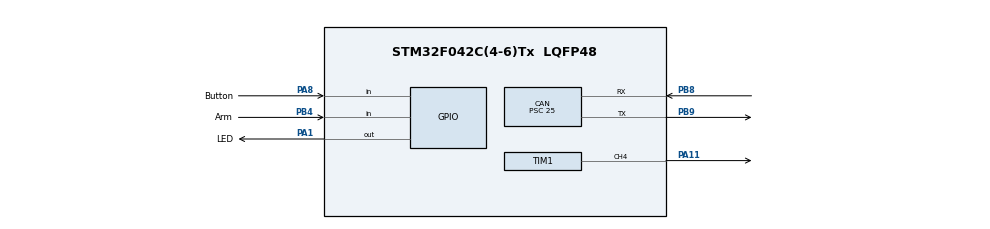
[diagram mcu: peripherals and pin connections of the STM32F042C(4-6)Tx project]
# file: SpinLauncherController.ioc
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Mcu.Family=STM32F0
SH.S_TIM1_CH4.0=TIM1_CH4,PWM Generation4 CH4
CAN.CalculateBaudRate=20000
PB8.GPIO_PuPd=GPIO_PULLUP
CAN.CalculateTimeBit=50000.00
ProjectManager.StackSize=0x400
CAN.BS2=CAN_BS2_2TQ
CAN.BS1=CAN_BS1_13TQ
CAN.Prescaler=25
PA8.GPIO_Label=Button
TIM1.Prescaler=7
ProjectManager.TargetToolchain=STM32CubeIDE
TIM1.Channel-PWM\ Generation4\ CH4=TIM_CHANNEL_4
PB9.Mode=CAN_Activate
PA1.Signal=GPIO_Output
board=custom
PB4.GPIO_Label=Arm
PA1.GPIO_Label=LED
PA8.Signal=GPIO_Input
Mcu.Name=STM32F042C(4-6)Tx
CAN.CalculateTimeQuantum=3125.0
NVIC.CEC_CAN_IRQn=true\:1\:0\:true\:false\:true\:true\:true
Mcu.Package=LQFP48
PB9.Signal=CAN_TX
PA11.Signal=S_TIM1_CH4
ProjectManager.HeapSize=0x200
PB8.Mode=CAN_Activate
PB8.Signal=CAN_RX
TIM1.Period=999
PB4.Signal=GPIO_Input

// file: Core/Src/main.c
/* USER CODE BEGIN Header */
/**
  ******************************************************************************
  * @file           : main.c
  * @brief          : Main program body
  ******************************************************************************
  * @attention
  *
  * <h2><center>&copy; Copyright (c) 2020 STMicroelectronics.
  * All rights reserved.</center></h2>
  *
  * This software component is licensed by ST under BSD 3-Clause license,
  * the "License"; You may not use this file except in compliance with the
  * License. You may obtain a copy of the License at:
  *                        opensource.org/licenses/BSD-3-Clause
  *
  ******************************************************************************
  */
/* USER CODE END Header */
#include "main.h"

/* USER CODE BEGIN Includes */
#include "stdbool.h"
/* USER CODE END Includes */

CAN_HandleTypeDef hcan;

TIM_HandleTypeDef htim1;

void SystemClock_Config(void);
static void MX_GPIO_Init(void);
static void MX_CAN_Init(void);
static void MX_TIM1_Init(void);
/* USER CODE BEGIN PFP */
void CAN_Send(uint8_t *data, int length);
/* USER CODE END PFP */

/* USER CODE BEGIN 0 */

CAN_TxHeaderTypeDef   CanTxHeader;
CAN_RxHeaderTypeDef   CanRxHeader;
uint8_t               CanRxData[8];
uint32_t              CanTxMailbox;

#define ARM_PERIOD          10000
#define SEND_STATE_INTERVAL 500
#define ALIVE_INTERVAL      2000
#define FIRE_DURATION       5000

#define LOOP_PERIOD         50

typedef enum {
	DISARMED,
	ARMED,
	FIRE,
} State;

State state     = DISARMED;
State pre_state = DISARMED;

int send_state_timer = 0;
int fire_timer       = 0;
int alive_timer      = 0;

void send_state(void) {
	switch (state) {
	case DISARMED:
		CAN_Send((uint8_t *)"DISARM", 6);
		break;
	case ARMED:
		CAN_Send((uint8_t *)"ARM", 3);
		break;
	case FIRE:
		CAN_Send((uint8_t *)"FIRE", 4);
		break;
	default:
		break;
	}
	send_state_timer = 0;
}

/* USER CODE END 0 */

int main(void)
{

  /* MCU Configuration--------------------------------------------------------*/

  /* Reset of all peripherals, Initializes the Flash interface and the Systick. */
  HAL_Init();

  /* Configure the system clock */
  SystemClock_Config();

  /* Initialize all configured peripherals */
  MX_GPIO_Init();
  MX_CAN_Init();
  MX_TIM1_Init();
  /* USER CODE BEGIN 2 */

//  HAL_GPIO_WritePin(Ignite_GPIO_Port, Ignite_Pin, GPIO_PIN_RESET);
  HAL_GPIO_WritePin(LED_GPIO_Port, LED_Pin, GPIO_PIN_RESET);

  HAL_TIM_PWM_Start(&htim1, TIM_CHANNEL_4);

  __HAL_TIM_SET_COMPARE(&htim1, TIM_CHANNEL_4, 0);

  /* USER CODE END 2 */

  /* Infinite loop */
  while (1)
  {

    /* USER CODE BEGIN 3 */
	  // Open fire
	 	  if (state == FIRE && pre_state != FIRE) {
	 		  fire_timer = 0;
	 		  __HAL_TIM_SET_COMPARE(&htim1, TIM_CHANNEL_4, 750);
//	 		  HAL_GPIO_WritePin(Ignite_GPIO_Port, Ignite_Pin, GPIO_PIN_SET);
	 	  }
	 	  // Stop firing
	 	  if (state == FIRE && fire_timer > FIRE_DURATION / LOOP_PERIOD) {
	 		  state = DISARMED;
	 	  }

	 	  if (state != FIRE) {
	 		 __HAL_TIM_SET_COMPARE(&htim1, TIM_CHANNEL_4, 250);
//	 		  HAL_GPIO_WritePin(Ignite_GPIO_Port, Ignite_Pin, GPIO_PIN_RESET);
	 	  }

	 	  // Check heart beat
	 	  if (alive_timer > ALIVE_INTERVAL / LOOP_PERIOD) {
	 	 	  state = DISARMED;
	 	  }
	   	  // Send state
	 	  if (state != pre_state ||
	 	  	 send_state_timer > SEND_STATE_INTERVAL / LOOP_PERIOD) {
	 	  	 send_state();
	 	  }

	 	  pre_state = state;
	 	  send_state_timer++;
	 	  alive_timer++;
	 	  fire_timer++;

	 	  HAL_GPIO_TogglePin(LED_GPIO_Port, LED_Pin);

	 	  HAL_Delay(LOOP_PERIOD);

  }
  /* USER CODE END 3 */
}

void SystemClock_Config(void)
{
  RCC_OscInitTypeDef RCC_OscInitStruct = {0};
  RCC_ClkInitTypeDef RCC_ClkInitStruct = {0};

  /** Initializes the RCC Oscillators according to the specified parameters
  * in the RCC_OscInitTypeDef structure.
  */
  RCC_OscInitStruct.OscillatorType = RCC_OSCILLATORTYPE_HSI;
  RCC_OscInitStruct.HSIState = RCC_HSI_ON;
  RCC_OscInitStruct.HSICalibrationValue = RCC_HSICALIBRATION_DEFAULT;
  RCC_OscInitStruct.PLL.PLLState = RCC_PLL_NONE;
  if (HAL_RCC_OscConfig(&RCC_OscInitStruct) != HAL_OK)
  {
    Error_Handler();
  }
  /** Initializes the CPU, AHB and APB buses clocks
  */
  RCC_ClkInitStruct.ClockType = RCC_CLOCKTYPE_HCLK|RCC_CLOCKTYPE_SYSCLK
                              |RCC_CLOCKTYPE_PCLK1;
  RCC_ClkInitStruct.SYSCLKSource = RCC_SYSCLKSOURCE_HSI;
  RCC_ClkInitStruct.AHBCLKDivider = RCC_SYSCLK_DIV1;
  RCC_ClkInitStruct.APB1CLKDivider = RCC_HCLK_DIV1;

  if (HAL_RCC_ClockConfig(&RCC_ClkInitStruct, FLASH_LATENCY_0) != HAL_OK)
  {
    Error_Handler();
  }
}

static void MX_CAN_Init(void)
{

  hcan.Instance = CAN;
  hcan.Init.Prescaler = 25;
  hcan.Init.Mode = CAN_MODE_NORMAL;
  hcan.Init.SyncJumpWidth = CAN_SJW_1TQ;
  hcan.Init.TimeSeg1 = CAN_BS1_13TQ;
  hcan.Init.TimeSeg2 = CAN_BS2_2TQ;
  hcan.Init.TimeTriggeredMode = DISABLE;
  hcan.Init.AutoBusOff = DISABLE;
  hcan.Init.AutoWakeUp = DISABLE;
  hcan.Init.AutoRetransmission = DISABLE;
  hcan.Init.ReceiveFifoLocked = DISABLE;
  hcan.Init.TransmitFifoPriority = DISABLE;
  if (HAL_CAN_Init(&hcan) != HAL_OK)
  {
    Error_Handler();
  }
  /* USER CODE BEGIN CAN_Init 2 */

  // Configure Filter

  CAN_FilterTypeDef  fc;

  fc.FilterBank           = 0;
  fc.FilterMode           = CAN_FILTERMODE_IDMASK;
  fc.FilterScale          = CAN_FILTERSCALE_32BIT;
  fc.FilterIdHigh         = 0x0000;
  fc.FilterIdLow          = 0x0000;
  fc.FilterMaskIdHigh     = 0x0000;
  fc.FilterMaskIdLow      = 0x0000;
  fc.FilterFIFOAssignment = CAN_RX_FIFO0;
  fc.FilterActivation     = ENABLE;
  fc.SlaveStartFilterBank = 14;

  if (HAL_CAN_ConfigFilter(&hcan, &fc) != HAL_OK)
  {
    /* Filter configuration Error */
    Error_Handler();
  }

  if (HAL_CAN_Start(&hcan) != HAL_OK)
  {
    /* Start Error */
    Error_Handler();
  }

  if (HAL_CAN_ActivateNotification(&hcan, CAN_IT_RX_FIFO0_MSG_PENDING) != HAL_OK)
  {
    /* Notification Error */
    Error_Handler();
  }

  // Configure Transmission

  CanTxHeader.StdId = 0x14;
  CanTxHeader.RTR   = CAN_RTR_DATA;
  CanTxHeader.IDE   = CAN_ID_STD;
  CanTxHeader.TransmitGlobalTime = DISABLE;

  /* USER CODE END CAN_Init 2 */

}

static void MX_TIM1_Init(void)
{

  TIM_MasterConfigTypeDef sMasterConfig = {0};
  TIM_OC_InitTypeDef sConfigOC = {0};
  TIM_BreakDeadTimeConfigTypeDef sBreakDeadTimeConfig = {0};

  htim1.Instance = TIM1;
  htim1.Init.Prescaler = 7;
  htim1.Init.CounterMode = TIM_COUNTERMODE_UP;
  htim1.Init.Period = 999;
  htim1.Init.ClockDivision = TIM_CLOCKDIVISION_DIV1;
  htim1.Init.RepetitionCounter = 0;
  htim1.Init.AutoReloadPreload = TIM_AUTORELOAD_PRELOAD_DISABLE;
  if (HAL_TIM_PWM_Init(&htim1) != HAL_OK)
  {
    Error_Handler();
  }
  sMasterConfig.MasterOutputTrigger = TIM_TRGO_RESET;
  sMasterConfig.MasterSlaveMode = TIM_MASTERSLAVEMODE_DISABLE;
  if (HAL_TIMEx_MasterConfigSynchronization(&htim1, &sMasterConfig) != HAL_OK)
  {
    Error_Handler();
  }
  sConfigOC.OCMode = TIM_OCMODE_PWM1;
  sConfigOC.Pulse = 0;
  sConfigOC.OCPolarity = TIM_OCPOLARITY_HIGH;
  sConfigOC.OCFastMode = TIM_OCFAST_DISABLE;
  sConfigOC.OCIdleState = TIM_OCIDLESTATE_RESET;
  sConfigOC.OCNIdleState = TIM_OCNIDLESTATE_RESET;
  if (HAL_TIM_PWM_ConfigChannel(&htim1, &sConfigOC, TIM_CHANNEL_4) != HAL_OK)
  {
    Error_Handler();
  }
  sBreakDeadTimeConfig.OffStateRunMode = TIM_OSSR_DISABLE;
  sBreakDeadTimeConfig.OffStateIDLEMode = TIM_OSSI_DISABLE;
  sBreakDeadTimeConfig.LockLevel = TIM_LOCKLEVEL_OFF;
  sBreakDeadTimeConfig.DeadTime = 0;
  sBreakDeadTimeConfig.BreakState = TIM_BREAK_DISABLE;
  sBreakDeadTimeConfig.BreakPolarity = TIM_BREAKPOLARITY_HIGH;
  sBreakDeadTimeConfig.AutomaticOutput = TIM_AUTOMATICOUTPUT_DISABLE;
  if (HAL_TIMEx_ConfigBreakDeadTime(&htim1, &sBreakDeadTimeConfig) != HAL_OK)
  {
    Error_Handler();
  }
  HAL_TIM_MspPostInit(&htim1);

}

static void MX_GPIO_Init(void)
{
  GPIO_InitTypeDef GPIO_InitStruct = {0};

  /* GPIO Ports Clock Enable */
  __HAL_RCC_GPIOA_CLK_ENABLE();
  __HAL_RCC_GPIOB_CLK_ENABLE();

  /*Configure GPIO pin Output Level */
  HAL_GPIO_WritePin(LED_GPIO_Port, LED_Pin, GPIO_PIN_RESET);

  /*Configure GPIO pin : LED_Pin */
  GPIO_InitStruct.Pin = LED_Pin;
  GPIO_InitStruct.Mode = GPIO_MODE_OUTPUT_PP;
  GPIO_InitStruct.Pull = GPIO_NOPULL;
  GPIO_InitStruct.Speed = GPIO_SPEED_FREQ_LOW;
  HAL_GPIO_Init(LED_GPIO_Port, &GPIO_InitStruct);

  /*Configure GPIO pin : Button_Pin */
  GPIO_InitStruct.Pin = Button_Pin;
  GPIO_InitStruct.Mode = GPIO_MODE_INPUT;
  GPIO_InitStruct.Pull = GPIO_NOPULL;
  HAL_GPIO_Init(Button_GPIO_Port, &GPIO_InitStruct);

  /*Configure GPIO pin : Arm_Pin */
  GPIO_InitStruct.Pin = Arm_Pin;
  GPIO_InitStruct.Mode = GPIO_MODE_INPUT;
  GPIO_InitStruct.Pull = GPIO_NOPULL;
  HAL_GPIO_Init(Arm_GPIO_Port, &GPIO_InitStruct);

}

/* USER CODE BEGIN 4 */

void CAN_Send(uint8_t *data, int length) {
	CanTxHeader.DLC = length;
	if (HAL_CAN_AddTxMessage(&hcan, &CanTxHeader, data, &CanTxMailbox) != HAL_OK) {
		/* Transmission request Error */
		Error_Handler();
	}
}

_Bool CAN_Received(uint32_t id, uint8_t *data, uint32_t length) {
	if (CanRxHeader.StdId != id)         return 0;
	if (CanRxHeader.IDE   != CAN_ID_STD) return 0;
	if (CanRxHeader.DLC   != length)     return 0;
	for (int i = 0; i < length; i++) {
		if (CanRxData[i] != data[i]) return 0;
	}
	return 1;
}

void HAL_CAN_RxFifo0MsgPendingCallback(CAN_HandleTypeDef *hcan)
{
  /* Get RX message */
  if (HAL_CAN_GetRxMessage(hcan, CAN_RX_FIFO0, &CanRxHeader, CanRxData) != HAL_OK)
  {
    /* Reception Error */
    Error_Handler();
  }

  alive_timer = 0;

  if (CAN_Received((uint32_t)0x13, (uint8_t*)"DISARM", 6)) {
	  state = DISARMED;
  }
  else if (CAN_Received((uint32_t)0x13, (uint8_t*)"ARM", 3)) {
	  if (state == DISARMED || state == ARMED) {
		  state = ARMED;
	  }
	  else {
		  state = DISARMED;
	  }
  }
  else if (CAN_Received((uint32_t)0x13, (uint8_t*)"FIRE", 4)) {
	  if (state == ARMED || state == FIRE) {
		  state = FIRE;
	  }
	  else {
		  state = DISARMED;
	  }
  }
}

/* USER CODE END 4 */

void Error_Handler(void)
{
}

/************************ (C) COPYRIGHT STMicroelectronics *****END OF FILE****/
